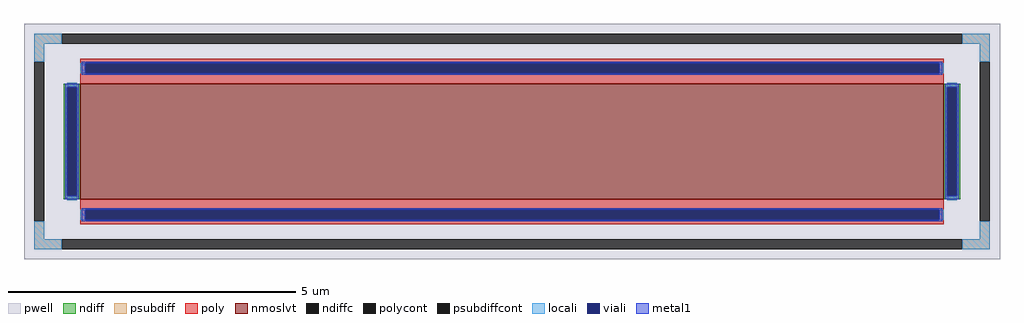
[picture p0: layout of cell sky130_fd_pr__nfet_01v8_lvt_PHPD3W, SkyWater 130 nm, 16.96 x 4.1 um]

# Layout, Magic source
magic
tech sky130A
<< pwell >>
rect -848 -205 848 205
<< nmoslvt >>
rect -750 -100 750 100
<< ndiff >>
rect -779 94 -750 100
rect -779 -94 -773 94
rect -756 -94 -750 94
rect -779 -100 -750 -94
rect 750 94 779 100
rect 750 -94 756 94
rect 773 -94 779 94
rect 750 -100 779 -94
<< ndiffc >>
rect -773 -94 -756 94
rect 756 -94 773 94
<< psubdiff >>
rect -830 170 -782 187
rect 782 170 830 187
rect -830 139 -813 170
rect 813 139 830 170
rect -830 -170 -813 -139
rect 813 -170 830 -139
rect -830 -187 -782 -170
rect 782 -187 830 -170
<< psubdiffcont >>
rect -782 170 782 187
rect -830 -139 -813 139
rect 813 -139 830 139
rect -782 -187 782 -170
<< poly >>
rect -750 136 750 144
rect -750 119 -742 136
rect 742 119 750 136
rect -750 100 750 119
rect -750 -119 750 -100
rect -750 -136 -742 -119
rect 742 -136 750 -119
rect -750 -144 750 -136
<< polycont >>
rect -742 119 742 136
rect -742 -136 742 -119
<< locali >>
rect -830 170 -782 187
rect 782 170 830 187
rect -830 139 -813 170
rect 813 139 830 170
rect -750 119 -742 136
rect 742 119 750 136
rect -773 94 -756 102
rect -773 -102 -756 -94
rect 756 94 773 102
rect 756 -102 773 -94
rect -750 -136 -742 -119
rect 742 -136 750 -119
rect -830 -170 -813 -139
rect 813 -170 830 -139
rect -830 -187 -782 -170
rect 782 -187 830 -170
<< viali >>
rect -742 119 742 136
rect -773 -94 -756 94
rect 756 -94 773 94
rect -742 -136 742 -119
<< metal1 >>
rect -748 136 748 139
rect -748 119 -742 136
rect 742 119 748 136
rect -748 116 748 119
rect -776 94 -753 100
rect -776 -94 -773 94
rect -756 -94 -753 94
rect -776 -100 -753 -94
rect 753 94 776 100
rect 753 -94 756 94
rect 773 -94 776 94
rect 753 -100 776 -94
rect -748 -119 748 -116
rect -748 -136 -742 -119
rect 742 -136 748 -119
rect -748 -139 748 -136
<< properties >>
string FIXED_BBOX -821 -178 821 178
string gencell sky130_fd_pr__nfet_01v8_lvt
string library sky130
string parameters w 2.0 l 15.0 m 1 nf 1 diffcov 100 polycov 100 guard 1 glc 1 grc 1 gtc 1 gbc 1 tbcov 100 rlcov 100 topc 1 botc 1 poverlap 0 doverlap 1 lmin 0.15 wmin 0.42 class mosfet compatible {sky130_fd_pr__nfet_01v8 sky130_fd_pr__nfet_01v8_lvt  sky130_fd_bs_flash__special_sonosfet_star  sky130_fd_pr__nfet_g5v0d10v5 sky130_fd_pr__nfet_05v0_nvt  sky130_fd_pr__nfet_03v3_nvt} full_metal 1 viasrc 100 viadrn 100 viagate 100 viagb 0 viagr 0 viagl 0 viagt 0 ad {int((nf+1)/2) * W/nf * 0.29} as {int((nf+2)/2) * W/nf * 0.29} pd {2*int((nf+1)/2) * (W/nf + 0.29)} ps {2*int((nf+2)/2) * (W/nf + 0.29)} nrd {0.29 / W} nrs {0.29 / W} sa 0 sb 0 sd 0 mult 1
<< end >>
